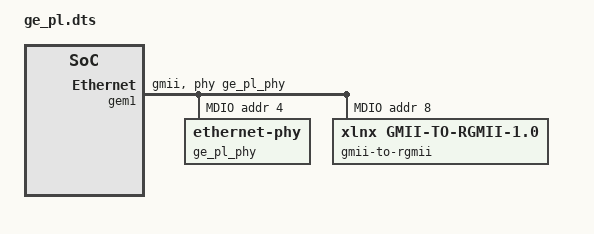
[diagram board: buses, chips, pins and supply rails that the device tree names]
/dts-v1/;
/plugin/;

/* Loaded only after the matching PL platform and GEM1 clock initialization.
 * GPIO 54 reset is owned by start_ge_pl.py, before PHY identification.
 * The FPGA bridge selects the TX frequency through MDIO, not Linux tx_clk.
 */
&gem1 {
    status = "okay";
    phy-mode = "gmii";
    local-mac-address = [02 0a 35 00 22 02];
    clocks = <&clkc 31>, <&clkc 31>;
    clock-names = "pclk", "hclk";
    phy-handle = <&ge_pl_phy>;
    mdio {
        #address-cells = <1>;
        #size-cells = <0>;
        ge_pl_phy: ethernet-phy@4 {
            reg = <4>;
        };
        gmii-to-rgmii@8 {
            compatible = "xlnx,gmii-to-rgmii-1.0";
            reg = <8>;
            phy-handle = <&ge_pl_phy>;
        };
    };
};
